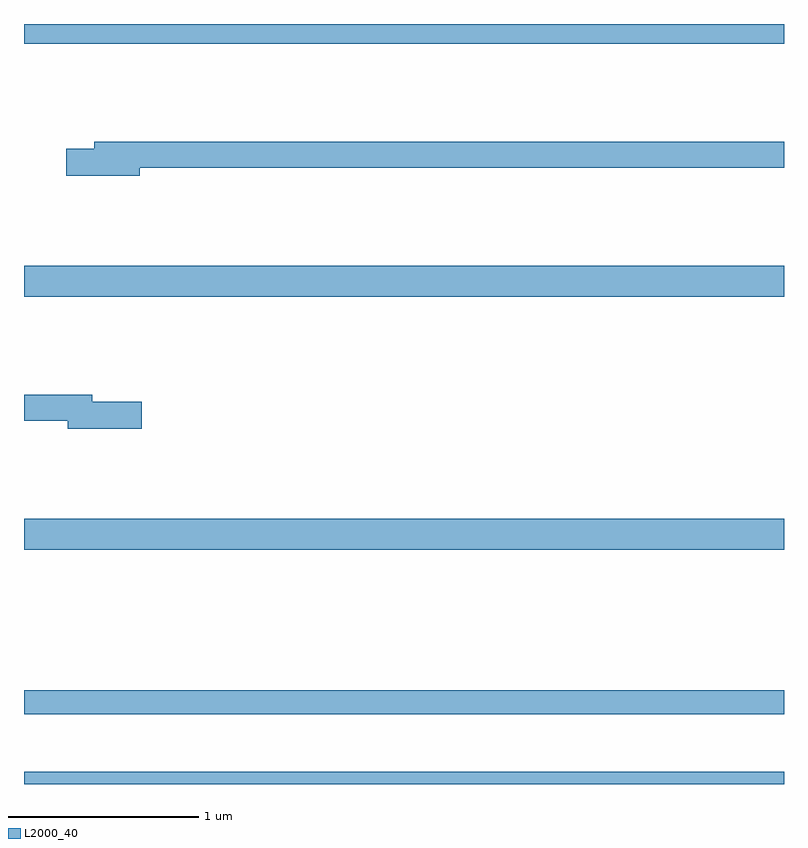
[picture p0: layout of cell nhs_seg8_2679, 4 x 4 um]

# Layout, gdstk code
import gdstk
lib = gdstk.Library(unit=1e-6, precision=1e-09)
def R(c, l, rs):  # rectangles x0, y0, x1, y1
    for r in rs: c.add(gdstk.rectangle(r[:2], r[2:], *l))
def P(c, l, *ps):  # polygons
    for p in ps: c.add(gdstk.Polygon(p, *l))
L2000_40 = (2000, 40)

nhs_seg8_2679 = lib.new_cell('nhs_seg8_2679')
R(nhs_seg8_2679, L2000_40, [(279,1149.9,283,1149.964), (279,1150.266,283,1150.394), (279,1151.132,283,1151.296), (279,1152.464,283,1152.628), (279,1153.796,283,1153.9)])
P(nhs_seg8_2679, L2000_40, [(279.61,1153.144),(283,1153.144),(283,1153.28),(279.371,1153.28),(279.371,1153.244),(279.222,1153.244),(279.222,1153.102),(279.61,1153.102)],
  [(279.619,1151.912),(279.358,1151.912),(279.358,1151.948),(279,1151.948),(279,1151.812),(279.23,1151.812),(279.23,1151.77),(279.619,1151.77)])

lib.write_gds('nhs_seg8_2679.gds')
